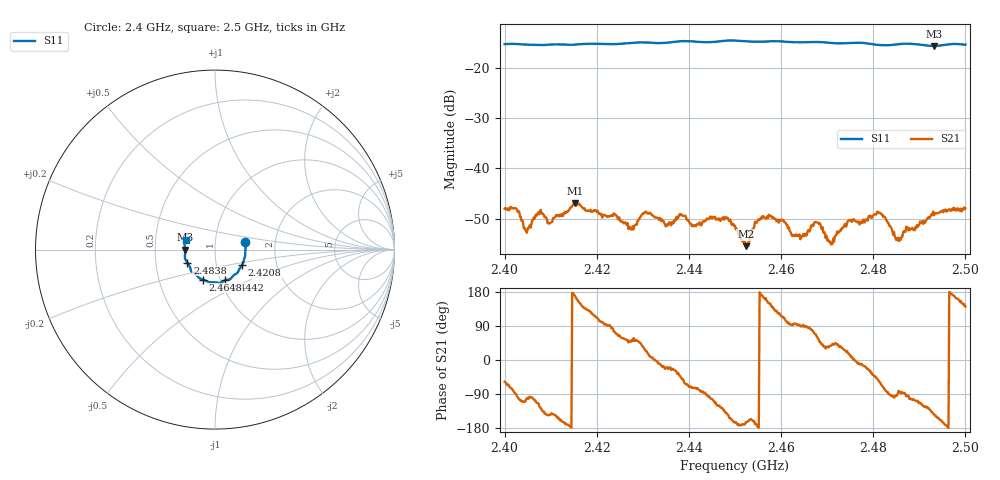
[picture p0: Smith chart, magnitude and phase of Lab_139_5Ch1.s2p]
# Hz S RI R 50
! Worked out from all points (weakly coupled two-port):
!   601 points, 2.4 GHz to 2.5 GHz, reference 50 ohm
!   highest |S21| = -46.94 dB at 2.4153 GHz (marker M1); lowest = -55.5 dB at 2.4523 GHz (marker M2)
!   lowest |S11| = -15.6 dB at 2.4932 GHz (marker M3), VSWR 1.40, Z = 35.8 - j0.0689 ohm
!   |S11| at or under -10 dB: start of sweep to end of sweep
!   S12 and S22 are empty: the file has one direction only
!   S11 on the Smith chart (normalised r, x): 2.4 GHz: 1.40, +0.12; 2.4208 GHz: 1.33, -0.24; 2.4442 GHz: 1.05, -0.37; 2.4648 GHz: 0.83, -0.29; 2.4838 GHz: 0.73, -0.11; 2.5 GHz: 0.72, +0.08
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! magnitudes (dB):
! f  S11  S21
! 2.4 GHz  -15.3  -48.0
! 2.4027 GHz  -15.2  -48.1
! 2.4047 GHz  -15.4  -52.4
! 2.4153 GHz  -15.3  -46.9
! 2.4167 GHz  -15.2  -47.6
! 2.4208 GHz  -15.2  -49.1
! 2.4275 GHz  -15.0  -52.2
! 2.4303 GHz  -14.9  -48.9
! 2.4333 GHz  -15.0  -49.9
! 2.4442 GHz  -14.9  -50.1
! 2.45 GHz  -14.5  -51.4
! 2.4523 GHz  -14.7  -55.5
! 2.4575 GHz  -14.7  -49.4
! 2.4648 GHz  -14.9  -53.1
! 2.4667 GHz  -14.8  -51.5
! 2.471 GHz  -15.0  -55.1
! 2.475 GHz  -15.0  -50.4
! 2.4833 GHz  -15.5  -50.9
! 2.4838 GHz  -15.4  -51.7
! 2.4855 GHz  -15.2  -54.4
! 2.4932 GHz  -15.6  -49.3
! 2.5 GHz  -15.4  -47.9
